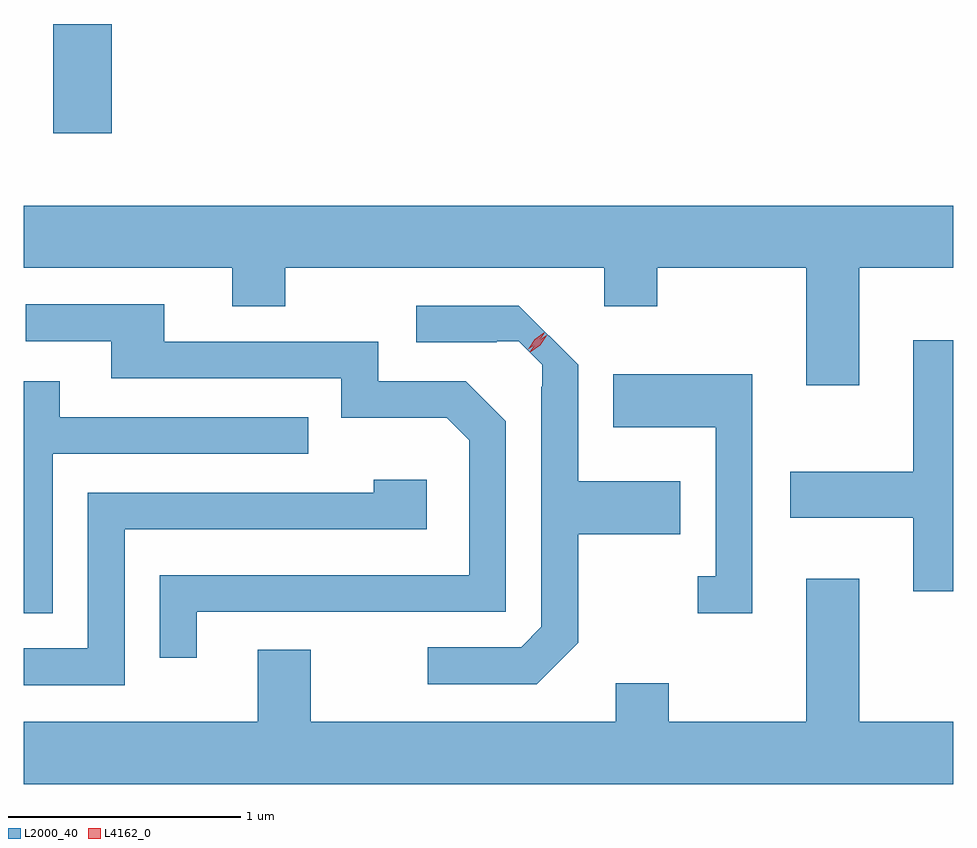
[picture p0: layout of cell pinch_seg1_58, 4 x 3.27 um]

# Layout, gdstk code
import gdstk
lib = gdstk.Library(unit=1e-6, precision=1e-09)
def R(c, l, rs):  # rectangles x0, y0, x1, y1
    for r in rs: c.add(gdstk.rectangle(r[:2], r[2:], *l))
def P(c, l, *ps):  # polygons
    for p in ps: c.add(gdstk.Polygon(p, *l))
L2000_40 = (2000, 40)
L4162_0 = (4162, 0)

pinch_seg1_58 = lib.new_cell('pinch_seg1_58')
R(pinch_seg1_58, L2000_40, [(1021.471,851.316,1021.724,851.785)])
P(pinch_seg1_58, L2000_40, [(1024.939,850.736),(1025.344,850.736),(1025.344,851.004),(1021.344,851.004),(1021.344,850.736),(1022.241,850.736),(1022.241,850.571),(1022.469,850.571),(1022.469,850.736),(1023.841,850.736),(1023.841,850.571),(1024.069,850.571),(1024.069,850.736),(1024.711,850.736),(1024.711,850.231),(1024.939,850.231)],
  [(1022.089,849.256),(1023.419,849.256),(1023.419,850.077),(1023.247,850.249),(1022.869,850.249),(1022.869,850.419),(1021.949,850.419),(1021.949,850.579),(1021.353,850.579),(1021.353,850.421),(1021.721,850.421),(1021.721,850.261),(1022.711,850.261),(1022.711,850.091),(1023.164,850.091),(1023.261,849.994),(1023.261,849.414),(1021.931,849.414),(1021.931,849.058),(1022.089,849.058)],
  [(1023.729,849.124),(1023.729,849.591),(1024.169,849.591),(1024.169,849.819),(1023.729,849.819),(1023.729,850.32),(1023.475,850.574),(1023.033,850.574),(1023.033,850.416),(1023.38,850.416),(1023.38,850.42),(1023.475,850.42),(1023.575,850.32),(1023.575,850.225),(1023.571,850.225),(1023.571,849.192),(1023.484,849.104),(1023.083,849.104),(1023.083,848.946),(1023.552,848.946)],
  [(1025.344,850.424),(1025.171,850.424),(1025.171,849.859),(1024.641,849.859),(1024.641,849.661),(1025.171,849.661),(1025.171,849.346),(1025.344,849.346)],
  [(1024.479,850.279),(1023.881,850.279),(1023.881,850.051),(1024.321,850.051),(1024.321,849.409),(1024.243,849.409),(1024.243,849.251),(1024.479,849.251)],
  [(1021.469,849.936),(1022.568,849.936),(1022.568,850.094),(1021.499,850.094),(1021.499,850.249),(1021.344,850.249),(1021.344,849.251),(1021.469,849.251)],
  [(1021.779,849.611),(1023.079,849.611),(1023.079,849.824),(1022.851,849.824),(1022.851,849.769),(1021.621,849.769),(1021.621,849.099),(1021.344,849.099),(1021.344,848.941),(1021.779,848.941)],
  [(1025.344,848.784),(1024.939,848.784),(1024.939,849.399),(1024.711,849.399),(1024.711,848.784),(1024.119,848.784),(1024.119,848.949),(1023.891,848.949),(1023.891,848.784),(1022.579,848.784),(1022.579,849.094),(1022.351,849.094),(1022.351,848.784),(1021.344,848.784),(1021.344,848.516),(1025.344,848.516)])
P(pinch_seg1_58, L4162_0, [(1023.522,850.373),(1023.522,850.373),(1023.552,850.418),(1023.596,850.449),(1023.597,850.449),(1023.597,850.448),(1023.567,850.404),(1023.523,850.373)],
  [(1023.516,850.386),(1023.516,850.387),(1023.542,850.428),(1023.582,850.456),(1023.583,850.456),(1023.583,850.455),(1023.556,850.414),(1023.516,850.386)])

lib.write_gds('pinch_seg1_58.gds')
